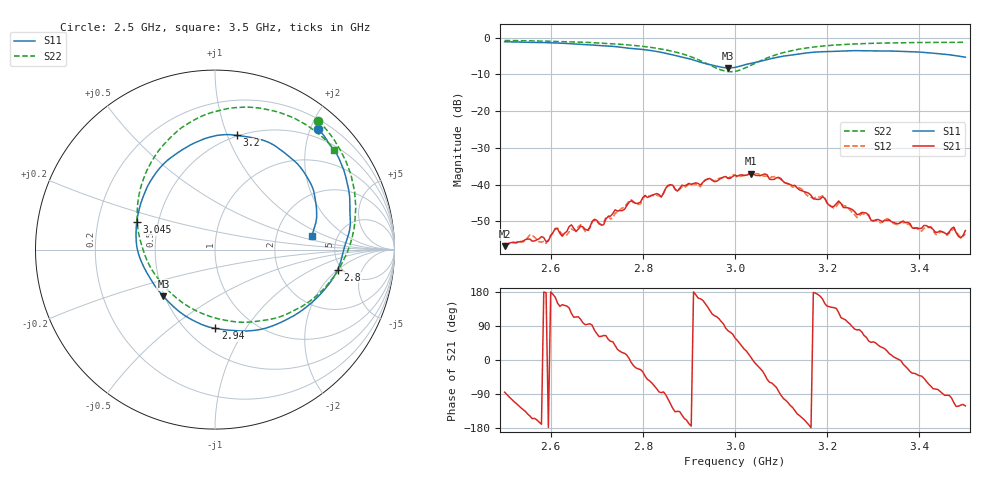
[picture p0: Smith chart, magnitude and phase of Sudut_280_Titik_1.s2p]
# Hz S RI R 50
! CMT, C1220, 16058040, 17.2.0/1
! Date: 15/08/2018 09:50:06
! Data: Format (Calibration Info)
! Freq  S11: Re/Im (F2)  S21: Re/Im (F2)  S12: Re/Im (F2)  S22: Re/Im (F2)
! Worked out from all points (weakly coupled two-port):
!   201 points, 2.5 GHz to 3.5 GHz, reference 50 ohm
!   highest |S21| = -37.07 dB at 3.035 GHz (marker M1); lowest = -56.8 dB at 2.5 GHz (marker M2)
!   lowest |S11| = -8.2 dB at 2.985 GHz (marker M3), VSWR 2.27, Z = 24.6 - j15.1 ohm
!   |S11| at or under -10 dB: nowhere
!   |S22| runs from -9.3 to -0.7 dB; largest |S21 - S12| = 0.0012
!   S11 on the Smith chart (normalised r, x): 2.5 GHz: 0.35, +2.13; 2.8 GHz: 4.62, -1.98; 2.94 GHz: 0.68, -0.74; 3.045 GHz: 0.38, +0.15; 3.2 GHz: 0.49, +1.08; 3.5 GHz: 3.23, +0.69
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2.5e9  0.5764 0.6703  0.000131 -0.00144  0.000157 -0.00158  0.5749 0.7179
2.555e9  0.641 0.5827  -0.00153 -0.000956  -0.00171 -0.00116  0.6363 0.6495
2.59e9  0.6858 0.5179  -0.00166 7.08e-05  -0.00157 -6.39e-05  0.673 0.5968
2.61e9  0.703 0.4789  -0.00243 0.000636  -0.00243 0.000562  0.6937 0.5623
2.625e9  0.7173 0.4436  -0.00163 0.00111  -0.00163 0.0013  0.7074 0.5357
2.67e9  0.7458 0.3281  -0.000373 0.00262  -0.000167 0.00259  0.748 0.4443
2.715e9  0.7525 0.1938  0.00122 0.00256  0.00124 0.00278  0.7759 0.3331
2.8e9  0.6835 -0.1116  0.00568 -0.00347  0.00557 -0.00318  0.7617 0.059
2.835e9  0.5961 -0.239  0.000751 -0.00728  0.000847 -0.00695  0.706 -0.0779
2.94e9  0.00159 -0.4389  -0.00918 0.0074  -0.0094 0.00727  0.1756 -0.4051
2.985e9  -0.2873 -0.2603  0.00268 0.0118  0.00219 0.012  -0.1814 -0.2955
3e9  -0.3602 -0.1619  0.0071 0.0114  0.00781 0.0111  -0.2807 -0.2056
3.035e9  -0.4399 0.083  0.0139 0.00156  0.0138 0.00192  -0.4183 0.0584
3.045e9  -0.4363 0.1534  0.0131 -0.00232  0.0139 -0.00224  -0.4328 0.1397
3.105e9  -0.2701 0.4931  -0.00217 -0.0107  -0.00238 -0.0105  -0.3233 0.5384
3.17e9  0.0071 0.6355  -0.00636 0.000194  -0.0065 -0.000249  -0.0707 0.7447
3.2e9  0.122 0.6364  -0.00438 0.00341  -0.00431 0.00368  0.0426 0.7792
3.335e9  0.4767 0.4572  0.00314 0.000939  0.00321 0.000804  0.4176 0.7421
3.435e9  0.5646 0.2381  0.000516 -0.00218  0.000451 -0.00204  0.5872 0.6361
3.475e9  0.5583 0.1376  -0.00102 -0.00242  -0.000908 -0.00234  0.6371 0.5891
3.49e9  0.5472 0.0993  -0.000909 -0.00163  -0.00106 -0.00161  0.6541 0.5702
3.5e9  0.5392 0.0753  -0.00123 -0.00202  -0.00124 -0.00172  0.6653 0.5575
